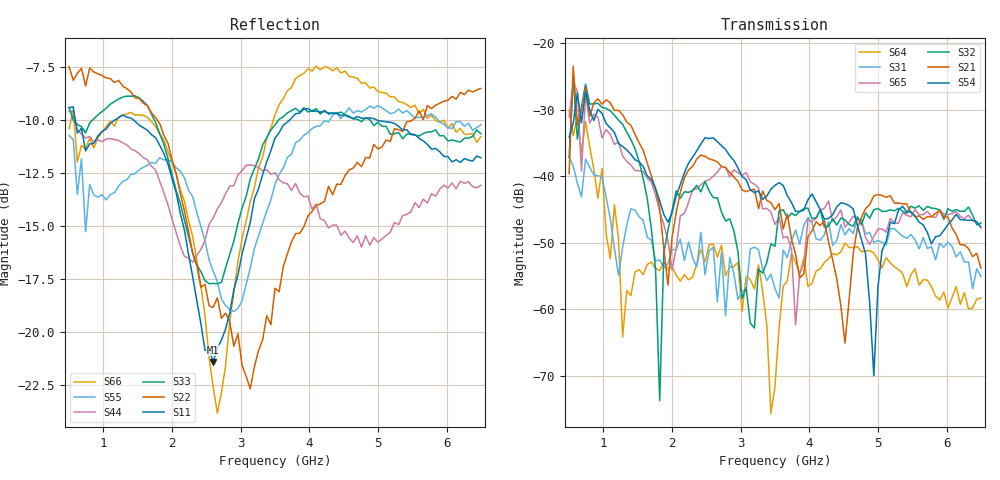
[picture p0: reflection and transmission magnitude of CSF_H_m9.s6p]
!Keysight Technologies,M9804A,MY58100912,A.14.10.03
!Date: Thursday, April 27, 2023 10:28:33
!Correction: S11(C  6-Port  )
!S12(C  6-Port  )
!S13(C  6-Port  )
!S14(C  6-Port  )
!S15(C  6-Port  )
!S16(C  6-Port  )
!S21(C  6-Port  )
!S22(C  6-Port  )
!S23(C  6-Port  )
!S24(C  6-Port  )
!S25(C  6-Port  )
!S26(C  6-Port  )
!S31(C  6-Port  )
!S32(C  6-Port  )
!S33(C  6-Port  )
!S34(C  6-Port  )
!S35(C  6-Port  )
!S36(C  6-Port  )
!S41(C  6-Port  )
!S42(C  6-Port  )
!S43(C  6-Port  )
!S44(C  6-Port  )
!S45(C  6-Port  )
!S46(C  6-Port  )
!S51(C  6-Port  )
!S52(C  6-Port  )
!S53(C  6-Port  )
!S54(C  6-Port  )
!S55(C  6-Port  )
!S56(C  6-Port  )
!S61(C  6-Port  )
!S62(C  6-Port  )
!S63(C  6-Port  )
!S64(C  6-Port  )
!S65(C  6-Port  )
!S66(C  6-Port  )
!S6P File: Measurement: :
# Hz S  RI  R 50
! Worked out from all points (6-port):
!   101 points, 500 MHz to 6.5 GHz, reference 50 ohm
!   strongest paths, dB at 500 MHz, 2 GHz, 3.5 GHz, 5 GHz, 6.5 GHz:
!     S54: -34.1, -45.5, -41.4, -56.8, -47.7
!     S21: -39.6, -49.2, -45.0, -42.8, -53.8
!     S32: -37.2, -45.2, -50.5, -44.9, -47.1
!     S65: -31.1, -54.1, -47.3, -48.0, -47.7
!     S31: -37.1, -51.1, -56.9, -49.7, -55.1
!     S64: -30.0, -53.6, -71.6, -52.6, -58.3
!   lowest |S11| = -21.4 dB at 2.6 GHz (marker M1), VSWR 1.19, Z = 42.5 + j2.2 ohm
!   |S11| at or under -10 dB: 589.7 MHz to 1.17 GHz (580.1 MHz wide, 65.9 % of centre); 1.435 GHz to 3.714 GHz (2.28 GHz wide, 88.5 % of centre); 4.981 GHz to end of sweep
